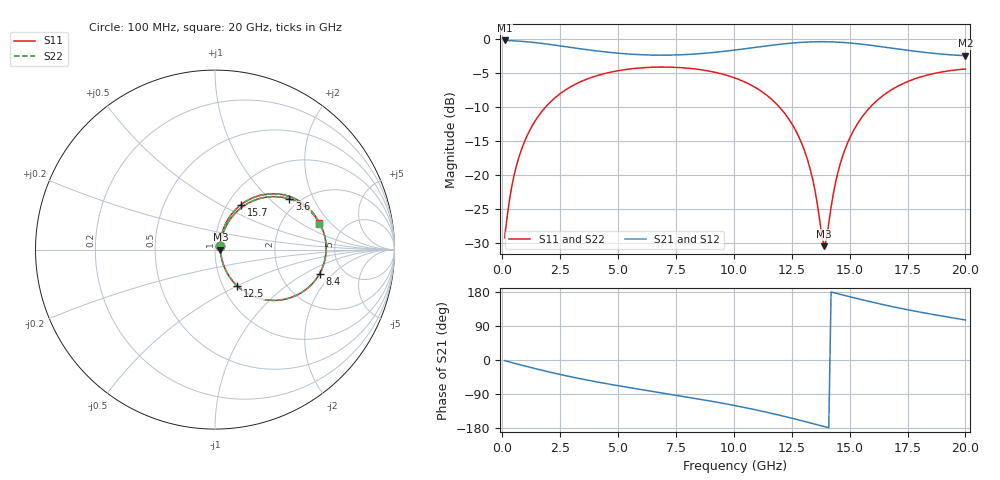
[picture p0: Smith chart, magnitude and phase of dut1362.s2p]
! Touchstone file exported from HFSS 2026.1.0
!  File:  C:/ffzhzh/LocalFiles/Ansys_Project_Files/temp_train_TSV_RDL_1362_1783344131_46376.aedt
!  Generated:  09:41:07 PM Jul  6, 2026
!  Design:  TSV_RDL
!  Project:  temp_train_TSV_RDL_1362_1783344131_46376
! Variables:
!  h_bsmrdl = 5.87um
!  h_ox = 20um
!  h_rdl = 5um
!  h_sub = 99.32um
!  h_tmrdl = 2.26um
!  h_tsv = 99.32um
!  h_via = 3um
!  l_bsmrdl = 641.28um
!  l_sub = 4067.07um
!  l_tmrdl = 412.31um
!  m_sub = 200um
!  pitch = 49.56um
!  r_tsv = 4.42um
!  s_tmrdl = 10um
!  w_bsmrdl = 17.24um
!  w_sub = 500um
!  w_tmrdl = 14.09um
!  x_tsv_center1 = 419.355um
!  x_tsv_center2 = 1077.875um
!  x_tsv_center3 = 1504.275um
!  x_tsv_center4 = 2162.795um
!  x_tsv_center5 = 2589.195um
!  x_tsv_center6 = 3247.715um
# GHz S MA R 50.000000
! Terminal data exported
! Port[1] = TM_RDL1_1_T1
! Port[2] = TM_RDL5_1_T1
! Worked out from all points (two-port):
!   200 points, 100 MHz to 20 GHz, reference 50 ohm
!   highest |S21| = -0.26 dB at 100 MHz (marker M1); lowest = -2.5 dB at 20 GHz (marker M2)
!   |S21| within 3 dB of the highest: start of sweep to end of sweep
!   lowest |S11| = -30.4 dB at 13.9 GHz (marker M3), VSWR 1.06, Z = 53.1 - j0.0754 ohm
!   |S11| at or under -10 dB: start of sweep to 1.876 GHz; 11.96 GHz to 15.9 GHz (3.937 GHz wide, 28.3 % of centre)
!   |S22| runs from -30.3 to -4.2 dB; largest |S21 - S12| = 1.5e-14
!   S11 on the Smith chart (normalised r, x): 100 MHz: 1.06, +0.04; 3.6 GHz: 1.77, +1.34; 8.4 GHz: 3.34, -1.40; 12.5 GHz: 1.17, -0.50; 15.7 GHz: 1.15, +0.63; 20 GHz: 3.26, +1.48
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0.1  0.03462 31.8  0.971 -1.7  0.971 -1.7  0.03462 31.8
! Gamma 0 0 0 0
! Port Impedance 50 0 50 0
0.3  0.06399 57.3  0.9686 -5.0  0.9686 -5.0  0.06399 57.3
0.5  0.09791 63.4  0.965 -8.3  0.965 -8.3  0.09791 63.4
1.1  0.1989 62.9  0.9483 -17.8  0.9483 -17.8  0.1989 62.9
2.1  0.3465 51.9  0.9055 -32.7  0.9055 -32.7  0.3465 51.9
3.5  0.4935 35.4  0.8378 -51.0  0.8378 -51.0  0.4935 35.4
3.6  0.5015 34.3  0.8334 -52.2  0.8334 -52.2  0.5015 34.3
5.2  0.59 17.6  0.7778 -69.9  0.7778 -69.9  0.59 17.6
6.8  0.6194 2.3  0.7574 -86.0  0.7574 -86.0  0.6194 2.3
8.4  0.598 -13.0  0.7738 -102.1  0.7738 -102.1  0.598 -13.0
10.1  0.5114 -30.7  0.8281 -120.9  0.8281 -120.9  0.5114 -30.6
11.5  0.3756 -47.0  0.8898 -139.0  0.8898 -139.0  0.3756 -46.9
12.5  0.2383 -58.5  0.929 -153.6  0.929 -153.6  0.2383 -58.4
13  0.1593 -62.4  0.9424 -161.3  0.9424 -161.3  0.1594 -62.3
13.4  0.09383 -60.7  0.9488 -167.6  0.9488 -167.6  0.09394 -60.5
13.9  0.03011 -1.4  0.9506 -175.6  0.9506 -175.6  0.0305 -1.3
14.6  0.1218 67.8  0.9413 173.2  0.9413 173.2  0.1219 67.6
15.1  0.2014 65.9  0.9272 165.5  0.9272 165.5  0.2015 65.8
15.7  0.2895 59.9  0.9041 156.6  0.9041 156.6  0.2896 59.8
16.7  0.4111 48.3  0.8586 142.8  0.8586 142.8  0.4111 48.2
18.1  0.5264 32.8  0.7988 125.7  0.7988 125.7  0.5264 32.8
20  0.5991 14.1  0.7513 105.6  0.7513 105.6  0.5991 14.0
